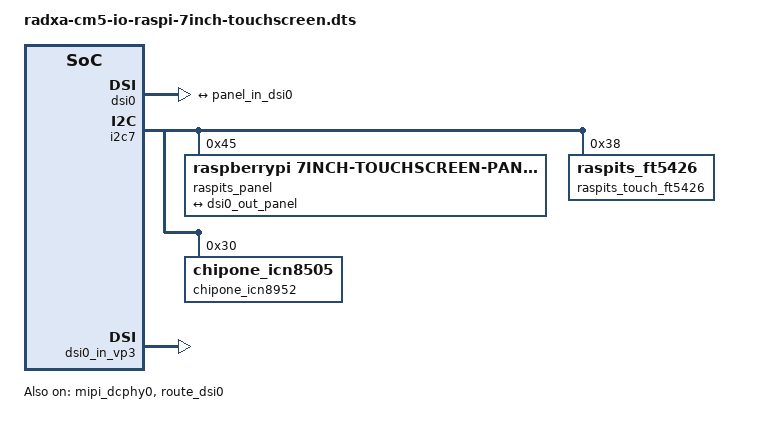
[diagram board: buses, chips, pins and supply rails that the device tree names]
/dts-v1/;
/plugin/;

#include <dt-bindings/interrupt-controller/irq.h>
#include <dt-bindings/gpio/gpio.h>
#include <dt-bindings/pinctrl/rockchip.h>

/ {
	metadata {
		title = "Enable Raspberry Pi 7-inch Touchscreen on DSI0";
		compatible = "radxa,cm5-io";
		category = "display";
		exclusive = "dsi0";
		description = "Enable Raspberry Pi 7-inch Touchscreen on DSI0.";
	};

	fragment@0 {
		target = <&dsi0>;

		__overlay__ {
			status = "okay";
			#address-cells = <1>;
			#size-cells = <0>;
			rockchip,lane-rate = <696>;

			ports {
				#address-cells = <1>;
				#size-cells = <0>;

				port@1 {
					reg = <1>;
					dsi0_out_panel: endpoint {
						remote-endpoint = <&panel_in_dsi0>;
					};
				};
			};
		};
	};

	fragment@1 {
		target = <&i2c7>;

		__overlay__ {
			status = "okay";
			pinctrl-0 = <&i2c7m2_xfer>;
			#address-cells = <1>;
			#size-cells = <0>;

			raspits_panel: raspits-panel@45 {
				compatible = "raspberrypi,7inch-touchscreen-panel";
				reg = <0x45>;

				port {
					panel_in_dsi0: endpoint {
						remote-endpoint = <&dsi0_out_panel>;
					};
				};
			};

			raspits_touch_ft5426: raspits-touch-ft5426@38 {
				compatible = "raspits_ft5426";
				reg = <0x38>;
			};

			chipone_icn8952: chipone_icn8952@30 {
				compatible = "chipone_icn8505";
				reg = <0x30>;
			};
		};
	};

	fragment@2 {
		target = <&mipi_dcphy0>;

		__overlay__ {
			status = "okay";
		};
	};

	fragment@3 {
		target = <&route_dsi0>;

		__overlay__ {
			status = "okay";
			connect = <&vp3_out_dsi0>;
		};
	};

	fragment@4 {
		target = <&dsi0_in_vp2>;

		__overlay__ {
			status = "disabled";
		};
	};

	fragment@5 {
		target = <&dsi0_in_vp3>;

		__overlay__ {
			status = "okay";
		};
	};
};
